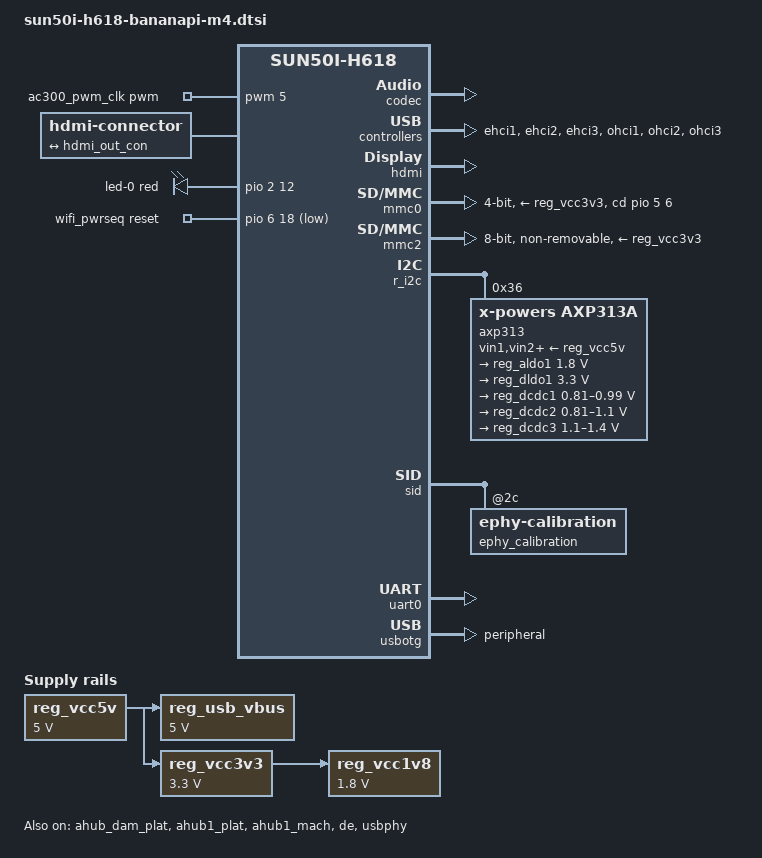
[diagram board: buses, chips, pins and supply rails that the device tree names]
// SPDX-License-Identifier: (GPL-2.0+ OR MIT)
/*
 * Copyright (c) 2026 Patrick Yavitz <pyavitz@gmail.com>
 */

/dts-v1/;

#include "sun50i-h616.dtsi"
#include "sun50i-h616-cpu-opp.dtsi"

#include <dt-bindings/gpio/gpio.h>
#include <dt-bindings/input/linux-event-codes.h>
#include <dt-bindings/interrupt-controller/arm-gic.h>
#include <dt-bindings/leds/common.h>

/ {
	compatible = "sinovoip,bpi-m4-zero", "allwinner,sun50i-h618";

	aliases {
		ethernet0 = &emac1;
		i2c0 = &i2c0;
		i2c1 = &i2c1;
		i2c3 = &i2c3;
		i2c4 = &i2c4;
		serial0 = &uart0;
		serial1 = &uart1;
		serial4 = &uart4;
		serial5 = &uart5;
		spi0 = &spi0;
		spi1 = &spi1;
	};

	ac300_pwm_clk: ac300-clk {
		compatible = "pwm-clock";
		#clock-cells = <0>;
		/* 500ns period -> 2MHz */
		pwms = <&pwm 5 500 0>;
		clock-frequency = <2000000>;
		status = "okay";
	};

	chosen {
		stdout-path = "serial0:115200n8";
		kaslr-seed = <0xfeedbeef 0xc0def00d>;
	};

	connector {
		compatible = "hdmi-connector";
		type = "d";

		port {
			hdmi_con_in: endpoint {
				remote-endpoint = <&hdmi_out_con>;
			};
		};
	};

	leds {
		compatible = "gpio-leds";

		led-0 {
			color = <LED_COLOR_ID_RED>;
			function = LED_FUNCTION_STATUS;
			gpios = <&pio 2 12 GPIO_ACTIVE_HIGH>;	/* PC12 */
			linux,default-trigger = "heartbeat";
		};
	};

	reg_usb_vbus: regulator-usb-vbus {
		/* Separate discrete regulator for the USB ports */
		compatible = "regulator-fixed";
		regulator-min-microvolt = <5000000>;
		regulator-max-microvolt = <5000000>;
		regulator-name = "usb-vbus";
		vin-supply = <&reg_vcc5v>;
	};

	reg_vcc5v: regulator-vcc5v {
		/* Board wide 5V supply directly from the USB-C socket */
		compatible = "regulator-fixed";
		regulator-always-on;
		regulator-min-microvolt = <5000000>;
		regulator-max-microvolt = <5000000>;
		regulator-name = "vcc-5v";
	};

	reg_vcc3v3: regulator-vcc3v3 {
		compatible = "regulator-fixed";
		regulator-always-on;
		regulator-min-microvolt = <3300000>;
		regulator-max-microvolt = <3300000>;
		regulator-name = "vcc-3v3";
		vin-supply = <&reg_vcc5v>;
	};

	reg_vcc1v8: regulator-vcc1v8 {
		compatible = "regulator-fixed";
		regulator-always-on;
		regulator-min-microvolt = <1800000>;
		regulator-max-microvolt = <1800000>;
		regulator-name = "vcc-1v8";
		vin-supply = <&reg_vcc3v3>;
	};

	wifi_pwrseq: wifi-pwrseq {
		compatible = "mmc-pwrseq-simple";
		clocks = <&rtc CLK_OSC32K_FANOUT>;
		clock-names = "ext_clock";
		pinctrl-0 = <&x32clk_fanout_pin>;
		pinctrl-names = "default";
		post-power-on-delay-ms = <200>;
		reset-gpios = <&pio 6 18 GPIO_ACTIVE_LOW>; /* PG18 */
	};
};

&ahub_dam_plat {
	status = "okay";
};

&ahub1_plat {
	status = "okay";
};

&ahub1_mach {
	status = "okay";
};

&codec {
	status = "okay";
	allwinner,audio-routing = "Line Out", "LINEOUT";
};

&cpu0 {
	cpu-supply = <&reg_dcdc2>;
};

&de {
	status = "okay";
};

/* Connected to an on-board RTL8821CU USB WiFi chip. */
&ehci1 {
	status = "okay";
};

&ehci2 {
	status = "okay";
};

&ehci3 {
	status = "okay";
};

&emac1 {
	compatible = "allwinner,sun50i-h616-internal-emac";
	pinctrl-names = "default";
	pinctrl-0 = <&rmii_pins>;
	phy-mode = "rmii";
	phy-handle = <&ac300_ephy>;
	phy-supply = <&reg_dldo1>;
	allwinner,rx-delay-ps = <3100>;
	allwinner,tx-delay-ps = <700>;
	status = "disabled";

	mdio-mux {
		compatible = "allwinner,sun8i-h3-mdio-mux";
		#address-cells = <1>;
		#size-cells = <0>;
		mdio-parent-bus = <&mdio1>;

		internal_mdio: mdio@1 {
			compatible = "allwinner,sun8i-h3-mdio-internal";
			reg = <1>;
			#address-cells = <1>;
			#size-cells = <0>;

			ac300_ephy: ethernet-phy@0 {
				compatible = "ethernet-phy-id0044.1400",
					     "allwinner,sun50i-h618-ac300-ephy",
					     "ethernet-phy-ieee802.3-c22";
				reg = <0>;
				clocks = <&ccu CLK_EMAC_25M>, <&ac300_pwm_clk>;
				clock-names = "ephy", "pwm";
				nvmem-cells = <&ephy_calibration>;
				nvmem-cell-names = "calibration";
				status = "okay";
                        };
                };
        };
};

&gpu {
	status = "disabled";
	mali-supply = <&reg_dcdc1>;
};

&hdmi {
	status = "okay";
};

&hdmi_out {
	hdmi_out_con: endpoint {
		remote-endpoint = <&hdmi_con_in>;
	};
};

&i2c0 {
	status = "disabled";
	pinctrl-0 = <&i2c0_pins>;
	pinctrl-names = "default";
};

&i2c1 {
	status = "disabled";
	pinctrl-0 = <&i2c1_pi_pins>;
	pinctrl-names = "default";
};

&i2c3 {
	status = "disabled";
	pinctrl-0 = <&i2c3_pg_pins>;
	pinctrl-names = "default";
};

&i2c4 {
	status = "disabled";
	pinctrl-0 = <&i2c4_pg_pins>;
	pinctrl-names = "default";
};

&ir {
	status = "disabled";
	pinctrl-0 = <&ir_rx_pin>;
	pinctrl-names = "default";
};

/* SD card */
&mmc0 {
	status = "okay";
	bus-width = <4>;
	max-frequency = <50000000>;
	disable-wp;
	cd-gpios = <&pio 5 6 GPIO_ACTIVE_HIGH>;	/* PF6 */
	vmmc-supply = <&reg_vcc3v3>;
};

/* SDIO */
&mmc1 {
	status = "disabled";
	bus-width = <4>;
	max-frequency = <100000000>;
	non-removable;
	disable-wp;
	/* WiFi firmware requires power to be kept while in suspend */
	keep-power-in-suspend;
	mmc-pwrseq = <&wifi_pwrseq>;
	cd-gpios = <&pio 6 15 GPIO_ACTIVE_HIGH>; /* PG15 */
	vmmc-supply = <&reg_vcc3v3>;
};

/* eMMC */
&mmc2 {
	status = "okay";
	bus-width = <8>;
	cap-mmc-hw-reset;
	mmc-hs200-1_8v;
	non-removable;
	disable-wp;
	vmmc-supply = <&reg_vcc3v3>;
	vqmmc-supply = <&reg_vcc1v8>;
};

&ohci1 {
	status = "okay";
};

&ohci2 {
	status = "okay";
};

&ohci3 {
	status = "okay";
};

&pio {
	vcc-pc-supply = <&reg_aldo1>;
	vcc-pf-supply = <&reg_dldo1>;
	vcc-pg-supply = <&reg_dldo1>;
	vcc-ph-supply = <&reg_dldo1>;
	vcc-pi-supply = <&reg_dldo1>;
	vcc-pl-supply = <&reg_aldo1>;

	/* PC0 required for spi0 */
	mmc2_pins: mmc2-pins {
		pins = "PC1", "PC5", "PC6",
		       "PC8", "PC9", "PC10", "PC11",
		       "PC13", "PC14", "PC15", "PC16";
		function = "mmc2";
		drive-strength = <30>;
		bias-pull-up;
	};
};

&r_i2c {
	status = "okay";
	axp313: pmic@36 {
		compatible = "x-powers,axp313a";
		reg = <0x36>;
		#interrupt-cells = <1>;
		interrupt-controller;
		interrupt-parent = <&pio>;

		vin1-supply = <&reg_vcc5v>;
		vin2-supply = <&reg_vcc5v>;
		vin3-supply = <&reg_vcc5v>;

		regulators {
			reg_aldo1: aldo1 {
				regulator-always-on;
				regulator-min-microvolt = <1800000>;
				regulator-max-microvolt = <1800000>;
				regulator-name = "vcc-1v8-pll";
			};

			reg_dldo1: dldo1 {
				regulator-always-on;
				regulator-min-microvolt = <3300000>;
				regulator-max-microvolt = <3300000>;
				regulator-name = "vcc-3v3-io";
			};

			reg_dcdc1: dcdc1 {
				regulator-always-on;
				regulator-min-microvolt = <810000>;
				regulator-max-microvolt = <990000>;
				regulator-name = "vdd-gpu-sys";
			};

			reg_dcdc2: dcdc2 {
				regulator-always-on;
				regulator-min-microvolt = <810000>;
				regulator-max-microvolt = <1100000>;
				regulator-ramp-delay = <200>;
				regulator-name = "vdd-cpu";
			};

			reg_dcdc3: dcdc3 {
				regulator-always-on;
				regulator-min-microvolt = <1100000>;
				regulator-max-microvolt = <1400000>;
				regulator-name = "vdd-dram";
			};
		};
	};
};

&sid {
	ephy_calibration: ephy-calibration@2c {
		reg = <0x2c 0x2>;
	};
};

&spi0 {
	status = "disabled";
	pinctrl-0 = <&spi0_pins>, <&spi1_cs0_pin>;
	pinctrl-names = "default";

	spidev@1 {
		compatible = "rohm,dh2228fv";
		reg = <1>;
		spi-max-frequency = <1000000>;
	};
};

&spi1 {
	status = "disabled";
	pinctrl-0 = <&spi1_pins>, <&spi1_cs1_pin>;
	pinctrl-names = "default";

	spidev@1 {
		compatible = "rohm,dh2228fv";
		reg = <1>;
		spi-max-frequency = <1000000>;
	};
};

&uart0 {
	status = "okay";
	pinctrl-0 = <&uart0_ph_pins>;
	pinctrl-names = "default";
};

&uart1 {
	status = "disabled";
	pinctrl-0 = <&uart1_pins>;
	pinctrl-names = "default";
};

&uart4 {
	status = "disabled";
	pinctrl-0 = <&uart4_pi_pins>;
	pinctrl-names = "default";
};

&uart5 {
	status = "disabled";
	pinctrl-0 = <&uart5_pins>;
	pinctrl-names = "default";
};

&usbotg {
	status = "okay";
	dr_mode = "peripheral";
};

&usbphy {
	status = "okay";
	usb1_vbus-supply = <&reg_usb_vbus>;
};
